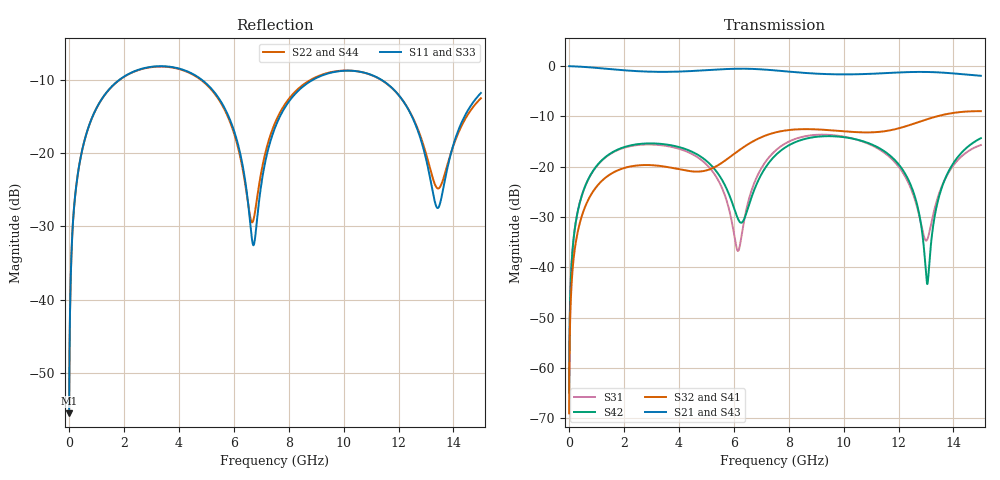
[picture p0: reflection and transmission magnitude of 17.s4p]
! Created with skrf 1.8.0 (http://scikit-rf.org).
# GHz S RI R 50.0
!freq ReS11 ImS11 ReS12 ImS12 ReS13 ImS13
! ReS14 ImS14
! ReS21 ImS21 ReS22 ImS22 ReS23 ImS23
! ReS24 ImS24
! ReS31 ImS31 ReS32 ImS32 ReS33 ImS33
! ReS34 ImS34
! ReS41 ImS41 ReS42 ImS42 ReS43 ImS43
! ReS44 ImS44
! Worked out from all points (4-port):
!   2499 points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, 5 MHz to 15 GHz, reference 50 ohm
!   strongest paths, dB at 5 MHz, 3.476 GHz, 7.19 GHz, 11.1 GHz, 15 GHz:
!     S21: 0.0, -1.1, -0.7, -1.5, -1.9
!     S43: 0.0, -1.1, -0.7, -1.5, -1.9
!     S32: -69.0, -19.9, -13.7, -13.1, -9.0
!     S41: -69.0, -19.9, -13.7, -13.1, -9.0
!     S42: -64.8, -15.5, -19.9, -15.7, -14.3
!     S31: -64.8, -15.8, -18.8, -15.9, -15.7
!   lowest |S11| = -55.5 dB at 5 MHz (marker M1), VSWR 1.00, Z = 50.1 + j0.102 ohm
!   |S11| at or under -10 dB: start of sweep to 1.851 GHz; 4.823 GHz to 8.903 GHz (4.079 GHz wide, 59.4 % of centre); 11.36 GHz to end of sweep
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0.005  0.00134 0.00101  0.9986 -0.00261  6.77e-05 0.000569  -6.56e-05 -0.00035
       0.9986 -0.00261  0.00134 0.00101  -6.56e-05 -0.00035  6.77e-05 0.000569
       6.77e-05 0.000569  -6.56e-05 -0.00035  0.00134 0.00101  0.9986 -0.00261
       -6.56e-05 -0.00035  6.77e-05 0.000569  0.9986 -0.00261  0.00134 0.00101
0.4126719  0.0262 0.0867  0.9638 -0.2127  0.013 0.0442  -0.0109 -0.0267
           0.9638 -0.2127  0.0261 0.0867  -0.0109 -0.0267  0.0135 0.044
           0.013 0.0442  -0.0109 -0.0267  0.0262 0.0867  0.9638 -0.2127
           -0.0109 -0.0267  0.0135 0.044  0.9638 -0.2127  0.0261 0.0867
1.925802  0.2726 0.1744  0.5421 -0.734  0.1349 0.0701  -0.0956 -0.00454
          0.5421 -0.734  0.2704 0.1759  -0.0955 -0.00459  0.1413 0.0613
          0.1349 0.0701  -0.0955 -0.00459  0.2727 0.1744  0.5421 -0.734
          -0.0956 -0.00454  0.1413 0.0613  0.5421 -0.734  0.2704 0.176
6.665277  0.0231 -0.0112  -0.9345 -0.084  0.0234 0.0553  -0.0108 0.1763
          -0.9345 -0.084  0.0335 -0.00216  -0.012 0.1763  -0.0179 0.0482
          0.0234 0.0553  -0.012 0.1763  0.0209 -0.0133  -0.9344 -0.0848
          -0.0108 0.1763  -0.0179 0.0482  -0.9344 -0.0848  0.0361 -0.00404
11.08587  0.3123 -0.123  0.2331 0.8076  0.1166 -0.1103  0.1863 -0.1172
          0.2331 0.8076  0.3136 -0.1168  0.1873 -0.1158  0.1152 -0.1166
          0.1166 -0.1103  0.1873 -0.1158  0.3091 -0.1194  0.2346 0.8088
          0.1863 -0.1172  0.1152 -0.1166  0.2346 0.8088  0.3084 -0.1187
13.04919  0.0528 -0.0645  0.8179 0.3097  -0.0181 0.0058  0.0955 -0.2813
          0.8179 0.3097  0.0672 -0.0627  0.0982 -0.2804  -0.00661 0.00173
          -0.0181 0.0058  0.0982 -0.2804  0.0514 -0.0611  0.8189 0.308
          0.0955 -0.2813  -0.00661 0.00173  0.8189 0.308  0.0653 -0.0602
15  0.2024 0.1567  0.6793 -0.425  0.1448 0.0781  -0.2339 -0.2693
    0.6793 -0.425  0.1933 0.1344  -0.2308 -0.2722  0.1886 0.0378
    0.1448 0.0781  -0.2308 -0.2722  0.199 0.1577  0.6795 -0.4258
    -0.2339 -0.2693  0.1886 0.0378  0.6795 -0.4258  0.1935 0.1306
